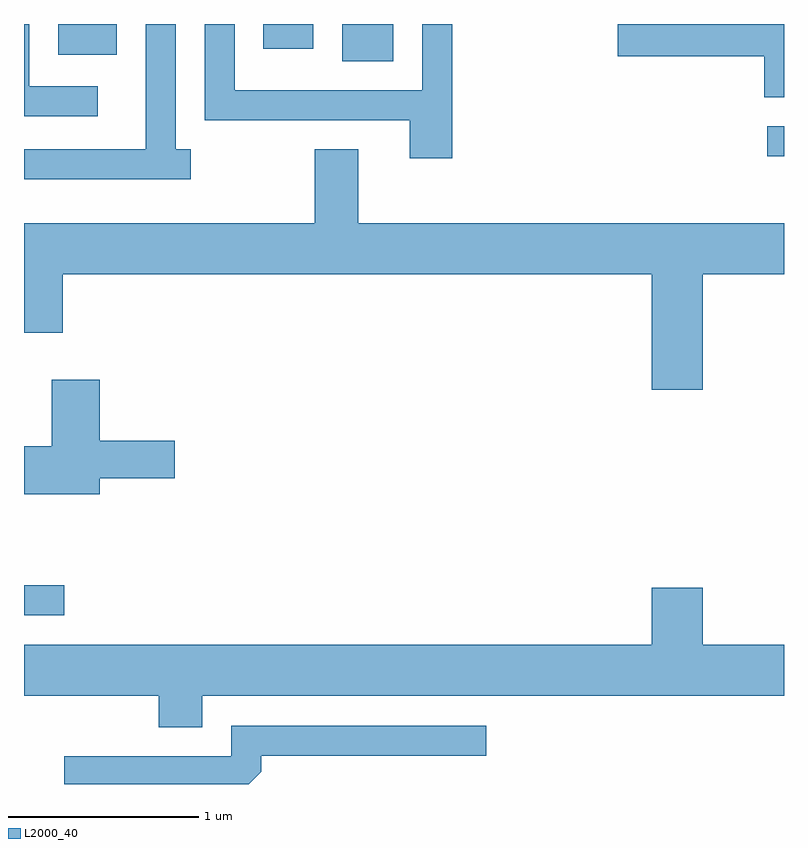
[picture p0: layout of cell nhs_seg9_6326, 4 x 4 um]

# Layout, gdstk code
import gdstk
lib = gdstk.Library(unit=1e-6, precision=1e-09)
def R(c, l, rs):  # rectangles x0, y0, x1, y1
    for r in rs: c.add(gdstk.rectangle(r[:2], r[2:], *l))
def P(c, l, *ps):  # polygons
    for p in ps: c.add(gdstk.Polygon(p, *l))
L2000_40 = (2000, 40)

nhs_seg9_6326 = lib.new_cell('nhs_seg9_6326')
R(nhs_seg9_6326, L2000_40, [(371.611,2023.321,371.823,2023.479), (375.523,2025.736,375.611,2025.894), (373.286,2026.236,373.554,2026.432), (371.791,2026.271,372.099,2026.432), (372.871,2026.301,373.134,2026.432)])
P(nhs_seg9_6326, L2000_40, [(375.611,2026.432),(374.736,2026.432),(374.736,2026.261),(375.506,2026.261),(375.506,2026.046),(375.611,2026.046)],
  [(371.998,2026.104),(371.639,2026.104),(371.639,2026.432),(371.611,2026.432),(371.611,2025.946),(371.998,2025.946)],
  [(373.864,2026.432),(373.706,2026.432),(373.706,2026.084),(372.719,2026.084),(372.719,2026.432),(372.561,2026.432),(372.561,2025.926),(373.641,2025.926),(373.641,2025.726),(373.864,2025.726)],
  [(372.488,2025.774),(372.409,2025.774),(372.409,2026.432),(372.251,2026.432),(372.251,2025.774),(371.611,2025.774),(371.611,2025.616),(372.488,2025.616)],
  [(375.184,2025.116),(375.611,2025.116),(375.611,2025.384),(373.369,2025.384),(373.369,2025.774),(373.141,2025.774),(373.141,2025.384),(371.611,2025.384),(371.611,2024.806),(371.814,2024.806),(371.814,2025.116),(374.916,2025.116),(374.916,2024.506),(375.184,2024.506)],
  [(372.009,2024.041),(372.404,2024.041),(372.404,2024.239),(372.009,2024.239),(372.009,2024.559),(371.756,2024.559),(371.756,2024.209),(371.611,2024.209),(371.611,2023.956),(372.009,2023.956)],
  [(372.549,2022.896),(375.611,2022.896),(375.611,2023.164),(375.184,2023.164),(375.184,2023.464),(374.916,2023.464),(374.916,2023.164),(371.611,2023.164),(371.611,2022.896),(372.321,2022.896),(372.321,2022.731),(372.549,2022.731)],
  [(372.859,2022.497),(372.859,2022.581),(374.043,2022.581),(374.043,2022.739),(372.701,2022.739),(372.701,2022.579),(371.823,2022.579),(371.823,2022.432),(372.795,2022.432)])

lib.write_gds('nhs_seg9_6326.gds')
